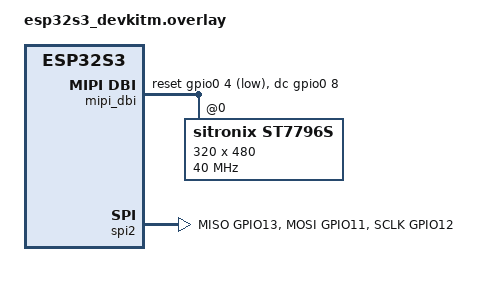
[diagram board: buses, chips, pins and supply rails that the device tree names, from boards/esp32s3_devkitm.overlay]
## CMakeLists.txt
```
# Define the minimum CMake version
cmake_minimum_required(VERSION 3.20.0)

set(DTC_OVERLAY_FILE "${CMAKE_CURRENT_SOURCE_DIR}/boards/esp32s3_devkitm.overlay")

# Localize the Zephyr's package
find_package(Zephyr REQUIRED HINTS $ENV{ZEPHYR_BASE})

# Define the project's name
project(SMID_Gateway)

# Add the source files
target_sources(app PRIVATE 
  src/main.c
  src/display/display.c
)
```

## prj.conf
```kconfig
# --- Default Configuration of System ---
CONFIG_LOG=y
CONFIG_LOG_MODE_DEFERRED=y

# --- Shell's Configuration (CLI) ---
CONFIG_SHELL=y
CONFIG_SHELL_PROMPT_UART="smid:~$ "

# --- Optimization of ESP32-S3 ---
CONFIG_FPU=y  # Float Point Unit

# --- Display Subsystem ---
CONFIG_SPI=y
CONFIG_DISPLAY=y
CONFIG_ST7796S=y

# --- Display Log Level (Helps debugging initialization) ---
CONFIG_DISPLAY_LOG_LEVEL_DBG=y
CONFIG_DISPLAY_LOG_LEVEL_INF=y
```

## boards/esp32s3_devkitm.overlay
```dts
/*
 * Copyright (c) 2025 SMID Project
 * Description: MIPI DBI Overlay for ST7796S (Cleaned for Zephyr 3.7)
 */

/ {
	chosen {
		zephyr,display = &st7796s;
	};

	mipi_dbi {
		compatible = "zephyr,mipi-dbi-spi";
		status = "okay";
		spi-dev = <&spi2>;
		
		/* Controles do Barramento */
		dc-gpios = <&gpio0 8 GPIO_ACTIVE_HIGH>;
		reset-gpios = <&gpio0 4 GPIO_ACTIVE_LOW>;
		
		write-only;
		#address-cells = <1>;
		#size-cells = <0>;

		st7796s: st7796s@0 {
			compatible = "sitronix,st7796s";
			status = "okay";
			reg = <0>;
			mipi-max-frequency = <40000000>;
			
			width = <320>;
			height = <480>;
			
			/* REMOVIDO: rotation (Não suportado no YAML) */
			/* REMOVIDO: pixel-format (Driver assume RGB565 auto) */

			/* Calibração Gamma (Obrigatória) */
			pgc = [F0 09 0B 06 04 15 2F 54 42 3C 17 14 18 1B];
			ngc = [E0 09 0B 06 04 03 2B 43 42 3B 16 14 17 1B];
		};
	};
};

&spi2 {
	status = "okay";
	pinctrl-0 = <&spim2_default>;
	pinctrl-names = "default";
	cs-gpios = <&gpio0 10 GPIO_ACTIVE_LOW>;
};

&pinctrl {
	spim2_default: spim2_default {
		group1 {
			pinmux = <SPIM2_MISO_GPIO13>,
				     <SPIM2_MOSI_GPIO11>,
				     <SPIM2_SCLK_GPIO12>;
		};
	};
};
```

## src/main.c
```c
/* main.c - Teste de Tela Vermelha ST7796S */
#include <zephyr/kernel.h>
#include <zephyr/drivers/display.h>
#include <zephyr/logging/log.h>

LOG_MODULE_REGISTER(main, LOG_LEVEL_INF);

/* Cor Vermelha em Hexadecimal (RGB565) */
#define RED_COLOR 0xF800 

/* Buffer de 1 linha (320 pixels) para economizar memória */
uint16_t line_buffer[320];

void main(void)
{
    /* Pega o dispositivo definido no overlay */
    const struct device *display_dev = DEVICE_DT_GET(DT_CHOSEN(zephyr_display));

    /* 1. Verificação Inicial */
    if (!device_is_ready(display_dev)) {
        LOG_ERR("ERRO FATAL: Driver da tela nao carregou. Verifique o Overlay!");
        return;
    }

    LOG_INF("Hardware encontrado. Ligando display...");
    display_blanking_off(display_dev); // Tira do modo sleep

    /* Prepara a linha vermelha na memória */
    for (int i = 0; i < 320; i++) {
        line_buffer[i] = RED_COLOR; 
    }

    struct display_buffer_descriptor desc;
    desc.pitch = 320;
    desc.width = 320;
    desc.height = 1; // Vamos escrever 1 linha por vez

    while (1) {
        LOG_INF("Enviando comando de pintura VERMELHA...");
        
        /* Pinta as 480 linhas da tela, uma por uma */
        for (int y = 0; y < 480; y++) {
            int ret = display_write(display_dev, 0, y, &desc, line_buffer);
            if (ret != 0) {
                /* Se der erro aqui, é falha grave no SPI */
                LOG_ERR("Falha de envio na linha %d", y); 
            }
        }
        
        LOG_INF("Ciclo concluido. Aguardando 1s...");
        k_sleep(K_SECONDS(1));
    }
}
```
